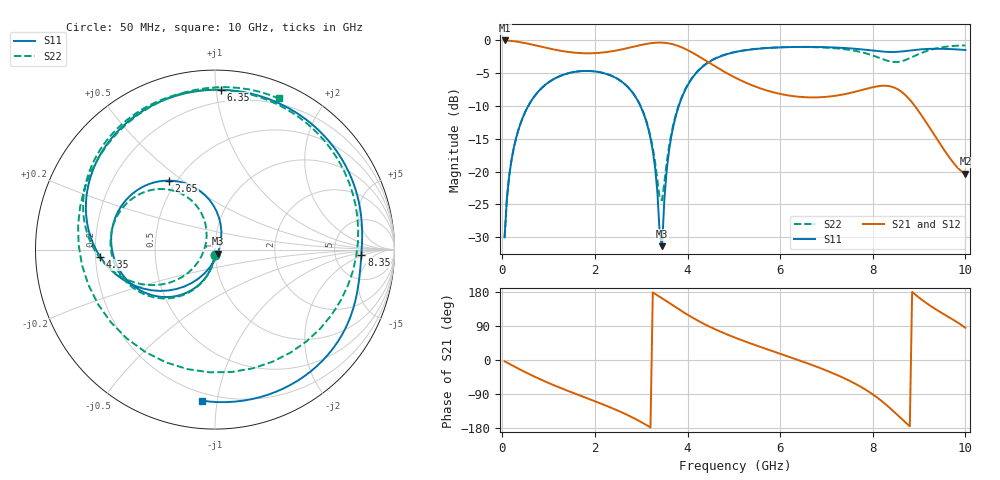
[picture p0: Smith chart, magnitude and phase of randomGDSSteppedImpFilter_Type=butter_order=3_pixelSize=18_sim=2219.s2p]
! freq	dB(S11)	phase(S11)	dB(S12)	phase(S12)
!  dB(S21)	phase(S21)	dB(S22)	phase(S22)
!S-par simulation data
#  GHz  S  DB  R 50
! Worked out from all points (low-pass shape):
!   200 points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, 50 MHz to 10 GHz, reference 50 ohm
!   highest |S21| = -0.01 dB at 50 MHz (marker M1); lowest = -20.3 dB at 10 GHz (marker M2)
!   |S21| within 3 dB of the highest: start of sweep to 4.376 GHz
!   lowest |S11| = -31.4 dB at 3.45 GHz (marker M3), VSWR 1.06, Z = 51.5 - j2.28 ohm
!   |S11| at or under -10 dB: start of sweep to 560.9 MHz; 2.982 GHz to 3.812 GHz (829.6 MHz wide, 24.4 % of centre)
!   |S22| runs from -30.0 to -0.8 dB; largest |S21 - S12| = 0
!   S11 on the Smith chart (normalised r, x): 50 MHz: 0.99, -0.06; 2.65 GHz: 0.46, +0.45; 4.35 GHz: 0.22, -0.03; 6.35 GHz: 0.12, +1.03; 8.35 GHz: 9.62, -1.60; 10 GHz: 0.15, -0.90
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0.05  -30.03 -93.6  -0.01 -3.4  -0.01 -3.4  -30.03 -93.5
0.2  -18.19 -103.9  -0.09 -13.3  -0.09 -13.3  -18.18 -103.5
0.5  -10.84 -123.4  -0.42 -32.3  -0.42 -32.3  -10.83 -122.3
1.75  -4.67 170.3  -1.96 -97.1  -1.96 -97.1  -4.67 174.7
2.65  -6.71 123.6  -1.27 -142.1  -1.27 -142.1  -6.69 133.3
3.2  -14.91 82.9  -0.44 -177.9  -0.44 -177.9  -14.63 109.8
3.4  -29.59 33.8  -0.33 166.8  -0.33 166.8  -24.13 145.0
3.45  -31.38 -55.0  -0.34 162.8  -0.34 162.8  -24.39 -179.7
3.55  -19.82 -106.0  -0.40 154.8  -0.40 154.8  -18.65 -143.8
3.7  -12.87 -124.9  -0.62 142.8  -0.62 142.8  -12.58 -140.0
4.35  -3.87 -176.3  -2.90 95.6  -2.90 95.6  -3.83 -175.9
5.05  -1.75 144.9  -5.76 57.9  -5.76 57.9  -1.73 149.6
6.35  -1.00 88.0  -8.56 1.7  -8.56 1.7  -1.01 96.3
6.7  -1.00 73.0  -8.70 -13.7  -8.70 -13.7  -1.03 80.8
7.3  -1.12 46.2  -8.33 -43.4  -8.33 -43.4  -1.27 48.2
7.8  -1.40 22.9  -7.50 -74.9  -7.50 -74.9  -1.88 7.9
8.1  -1.63 9.1  -7.00 -99.6  -7.00 -99.6  -2.56 -29.2
8.35  -1.76 -1.9  -6.97 -124.6  -6.97 -124.6  -3.17 -72.3
8.6  -1.71 -13.1  -7.73 -152.6  -7.73 -152.6  -3.22 -124.3
8.95  -1.42 -31.1  -10.40 169.5  -10.40 169.5  -2.22 169.8
9.4  -1.27 -57.7  -15.20 130.7  -15.20 130.7  -1.18 114.6
10  -1.46 -95.0  -20.33 84.9  -20.33 84.9  -0.79 67.2
